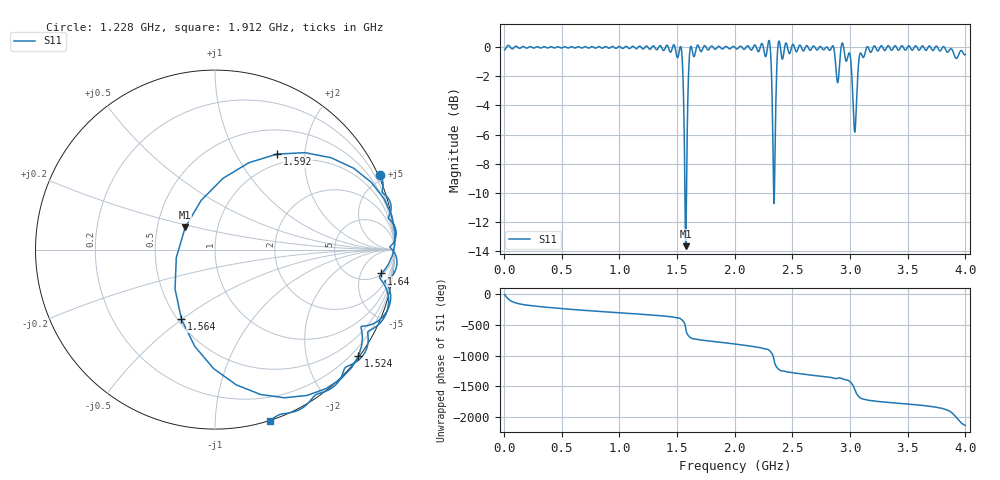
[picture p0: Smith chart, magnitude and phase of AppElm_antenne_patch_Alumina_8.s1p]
! TOUCHSTONE file generated by CST MICROWAVE STUDIO
! Date and time: Thu Jun  9 09:13:18 2022
! Project name: AppElm_antenne_patch_Alumina.cst
! Parameters = {L=30.5; W=41.8; e=0.035; h=1.6; lambda=0.190476; ls=90; w0=1.232; w1=0.373; ws=90; y0=14; y1=10}
! Header version: 2018
! Port assignment regex: !\s*Touchstone port\s*([0-9]+)\s*=\s*(CST MWS port|CST DS port)\s*([0-9]+|Zmin|Zmax)\s*\(\"(.*)\"\)(\s*mode\s*([0-9]+))?.*
! Touchstone port assignment:
! Touchstone port 1 = CST MWS port 1 ("")
# GHz S MA R 50
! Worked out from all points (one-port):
!   1000 points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, 4 MHz to 4 GHz, reference 50 ohm
!   lowest |S11| = -13.7 dB at 1.576 GHz (marker M1), VSWR 1.52, Z = 34.8 + j9.01 ohm
!   |S11| at or under -10 dB: 1.568 GHz to 1.581 GHz (13.37 MHz wide, 0.849 % of centre); 2.337821 GHz to 2.343538 GHz (5.717 MHz wide, 0.244 % of centre)
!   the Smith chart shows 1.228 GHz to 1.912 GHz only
!   S11 on the Smith chart (normalised r, x): 1.228 GHz: -0.09, +4.63; 1.524 GHz: 0.02, -3.02; 1.564 GHz: 0.52, -0.50; 1.592 GHz: 0.84, +1.49; 1.64 GHz: 5, -12; 1.912 GHz: -0.00, -1.37
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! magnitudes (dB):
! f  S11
! 4 MHz  -0.2
! 504 MHz  0.0
! 1.004 GHz  0.1
! 1.228 GHz  0.1
! 1.504 GHz  -0.7
! 1.524 GHz  0.0
! 1.544 GHz  -0.8
! 1.564 GHz  -7.3
! 1.576 GHz  -13.7
! 1.592 GHz  -4.0
! 1.612 GHz  -0.1
! 1.64 GHz  -0.6
! 1.912 GHz  0.0
! 2.004 GHz  0.0
! 2.296 GHz  0.5
! 2.34 GHz  -10.7
! 2.352 GHz  -5.6
! 2.372 GHz  -0.1
! 2.384 GHz  0.4
! 2.504 GHz  0.2
! 2.844 GHz  0.1
! 2.892 GHz  -2.4
! 2.936 GHz  0.3
! 3.004 GHz  -0.7
! 3.04 GHz  -5.8
! 3.096 GHz  -0.4
! 3.504 GHz  0.1
! 4 GHz  -0.5
